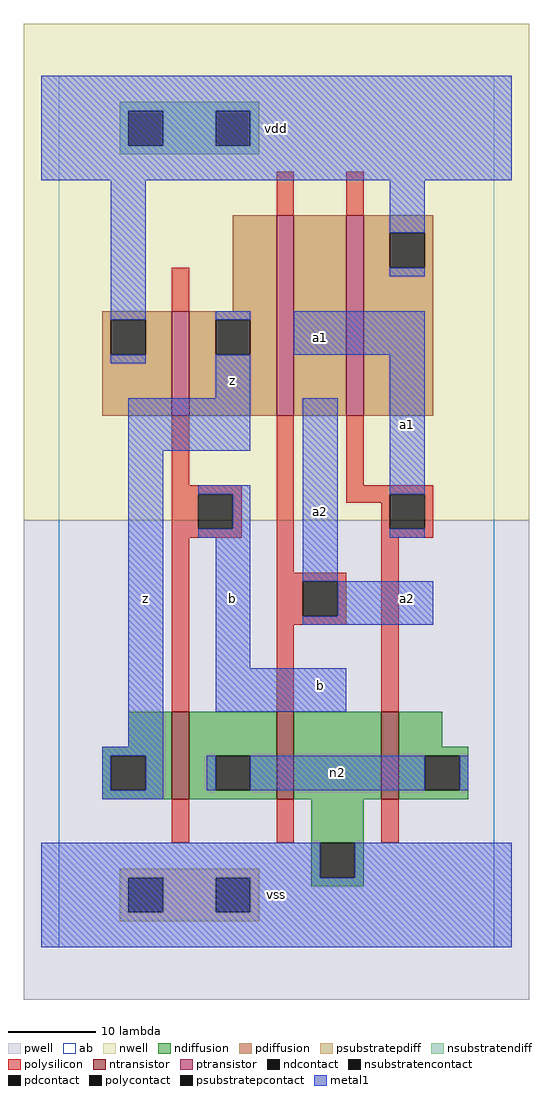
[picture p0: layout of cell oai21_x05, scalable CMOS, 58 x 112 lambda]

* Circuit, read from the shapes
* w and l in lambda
.subckt oai21_x05 a1 a2 b n2 vdd vss z
M1 n2 b z vss nfet w=10 l=2
M2 vss a2 n2 vss nfet w=10 l=2
M3 n2 a1 vss vss nfet w=10 l=2
M4 z b vdd vdd pfet w=12 l=2
M5 n1 a2 z vdd pfet w=23 l=2
M6 vdd a1 n1 vdd pfet w=23 l=2
.ends

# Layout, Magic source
magic
tech scmos
<< ab >>
rect 0 0 50 100
<< pwell >>
rect -4 -6 54 49
<< nwell >>
rect -4 49 54 106
<< polysilicon >>
rect 25 84 27 89
rect 33 84 35 89
rect 13 73 15 78
rect 13 53 15 61
rect 13 52 21 53
rect 13 48 16 52
rect 20 48 21 52
rect 13 47 21 48
rect 13 27 15 47
rect 25 43 27 61
rect 33 53 35 61
rect 33 52 43 53
rect 33 51 38 52
rect 37 48 38 51
rect 42 48 43 52
rect 37 47 43 48
rect 25 42 33 43
rect 25 38 28 42
rect 32 38 33 42
rect 25 37 33 38
rect 25 27 27 37
rect 37 27 39 47
rect 13 12 15 17
rect 25 12 27 17
rect 37 12 39 17
<< ndiffusion >>
rect 8 23 13 27
rect 5 22 13 23
rect 5 18 6 22
rect 10 18 13 22
rect 5 17 13 18
rect 15 22 25 27
rect 15 18 18 22
rect 22 18 25 22
rect 15 17 25 18
rect 27 17 37 27
rect 39 23 44 27
rect 39 22 47 23
rect 39 18 42 22
rect 46 18 47 22
rect 39 17 47 18
rect 29 12 35 17
rect 29 8 30 12
rect 34 8 35 12
rect 29 7 35 8
<< pdiffusion >>
rect 20 73 25 84
rect 5 72 13 73
rect 5 68 6 72
rect 10 68 13 72
rect 5 61 13 68
rect 15 72 25 73
rect 15 68 18 72
rect 22 68 25 72
rect 15 61 25 68
rect 27 61 33 84
rect 35 82 43 84
rect 35 78 38 82
rect 42 78 43 82
rect 35 61 43 78
<< metal1 >>
rect -2 88 52 100
rect 6 72 10 88
rect 38 82 42 88
rect 38 77 42 78
rect 6 67 10 68
rect 18 72 22 73
rect 27 68 42 73
rect 18 63 22 68
rect 8 57 22 63
rect 8 23 12 57
rect 16 52 22 53
rect 20 48 22 52
rect 16 47 22 48
rect 18 32 22 47
rect 28 42 32 63
rect 38 52 42 68
rect 38 47 42 48
rect 32 38 43 42
rect 28 37 43 38
rect 18 27 33 32
rect 5 22 12 23
rect 5 18 6 22
rect 10 18 12 22
rect 17 18 18 22
rect 22 18 42 22
rect 46 18 47 22
rect 5 17 12 18
rect -2 8 30 12
rect 34 8 52 12
rect -2 0 52 8
<< ntransistor >>
rect 13 17 15 27
rect 25 17 27 27
rect 37 17 39 27
<< ptransistor >>
rect 13 61 15 73
rect 25 61 27 84
rect 33 61 35 84
<< polycontact >>
rect 16 48 20 52
rect 38 48 42 52
rect 28 38 32 42
<< ndcontact >>
rect 6 18 10 22
rect 18 18 22 22
rect 42 18 46 22
rect 30 8 34 12
<< pdcontact >>
rect 6 68 10 72
rect 18 68 22 72
rect 38 78 42 82
<< psubstratepcontact >>
rect 8 4 12 8
rect 18 4 22 8
<< nsubstratencontact >>
rect 8 92 12 96
rect 18 92 22 96
<< psubstratepdiff >>
rect 7 8 23 9
rect 7 4 8 8
rect 12 4 18 8
rect 22 4 23 8
rect 7 3 23 4
<< nsubstratendiff >>
rect 7 96 23 97
rect 7 92 8 96
rect 12 92 18 96
rect 22 92 23 96
rect 7 91 23 92
<< labels >>
rlabel metal1 10 40 10 40 6 z
rlabel metal1 10 40 10 40 6 z
rlabel metal1 20 40 20 40 6 b
rlabel metal1 20 40 20 40 6 b
rlabel metal1 20 65 20 65 6 z
rlabel metal1 20 65 20 65 6 z
rlabel metal1 25 6 25 6 6 vss
rlabel metal1 25 6 25 6 6 vss
rlabel metal1 30 30 30 30 6 b
rlabel metal1 30 30 30 30 6 b
rlabel metal1 30 50 30 50 6 a2
rlabel metal1 30 50 30 50 6 a2
rlabel metal1 30 70 30 70 6 a1
rlabel metal1 30 70 30 70 6 a1
rlabel metal1 25 94 25 94 6 vdd
rlabel metal1 25 94 25 94 6 vdd
rlabel metal1 32 20 32 20 6 n2
rlabel metal1 40 40 40 40 6 a2
rlabel metal1 40 40 40 40 6 a2
rlabel metal1 40 60 40 60 6 a1
rlabel metal1 40 60 40 60 6 a1
<< end >>
